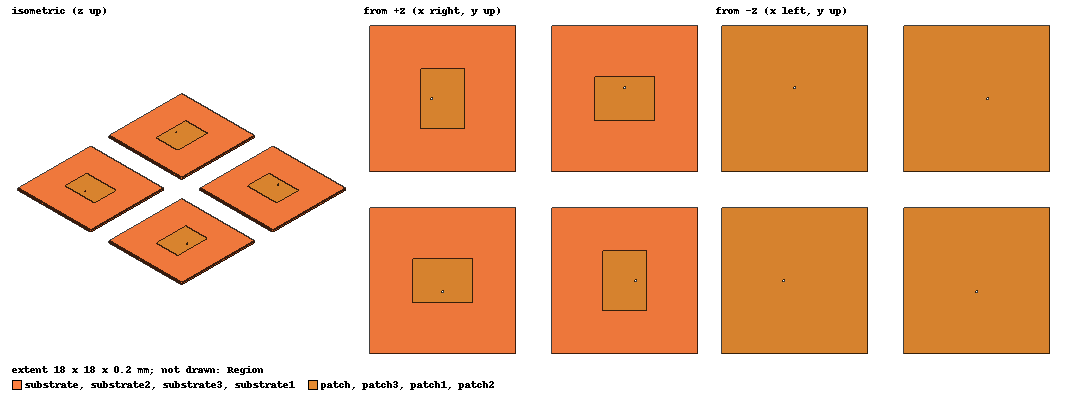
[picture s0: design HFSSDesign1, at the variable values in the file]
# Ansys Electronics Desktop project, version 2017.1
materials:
  vacuum: permittivity=1
  FR4_epoxy: permittivity=4.4 dielectric_loss_tangent=0.02

design HFSSDesign1 (HFSS, DrivenModal, model units mm)
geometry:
  substrate [FR4_epoxy] = box(corner=(-4mm, -4mm, 0mm), size=(8mm, 8mm, 0.2mm))
  patch = rectangle(corner=((-3.260253318/2) mm, (-2.396567504/2) mm, 0.2mm), x_size=3.260253318mm, y_size=2.396567504mm)
  ground = rectangle(corner=(4mm, -4mm, 0mm), x_size=-8mm, y_size=8mm)
  Box1 = box(corner=(-0.05mm, (2.396567504/4-0.05) mm, -0.1mm), size=(0.1mm, 0.1mm, 0.4mm))
  patch.unite(ground)
  Box2 = box(corner=(-0.05mm, (2.396567504/4-0.05) mm, -0.1mm), size=(0.1mm, 0.1mm, 0.4mm))
  substrate.subtract(Box1)
  patch.subtract(Box2)
  feed = rectangle(corner=(0.05mm, 0.549141876mm, 0.2mm), z_size=-0.2mm, x_size=-0.1mm)
  Region [vacuum] = region(absolute_offset=(75/28) mm on all sides)
  [substrate, patch, feed].move(5mm, 5mm, 0mm)
  substrate1 [FR4_epoxy] = box(corner=(-4mm, -4mm, 0mm), size=(8mm, 8mm, 0.2mm))
  Box3 = box(corner=(-0.05mm, (2.396567504/4-0.05) mm, -0.1mm), size=(0.1mm, 0.1mm, 0.4mm))
  substrate1.subtract(Box3)
  substrate1.move(5mm, 5mm, 0mm)
  patch1 = rectangle(corner=((-3.260253318/2) mm, (-2.396567504/2) mm, 0.2mm), x_size=3.260253318mm, y_size=2.396567504mm)
  ground1 = rectangle(corner=(4mm, -4mm, 0mm), x_size=-8mm, y_size=8mm)
  patch1.unite(ground1)
  Box4 = box(corner=(-0.05mm, (2.396567504/4-0.05) mm, -0.1mm), size=(0.1mm, 0.1mm, 0.4mm))
  patch1.subtract(Box4)
  patch1.move(5mm, 5mm, 0mm)
  feed1 = rectangle(corner=(0.05mm, 0.549141876mm, 0.2mm), z_size=-0.2mm, x_size=-0.1mm)
  feed1.move(5mm, 5mm, 0mm)
  [substrate, patch, feed].rotate(axis=Z, angle=90deg)
  substrate2 [FR4_epoxy] = box(corner=(-4mm, -4mm, 0mm), size=(8mm, 8mm, 0.2mm))
  Box5 = box(corner=(-0.05mm, (2.396567504/4-0.05) mm, -0.1mm), size=(0.1mm, 0.1mm, 0.4mm))
  substrate2.subtract(Box5)
  substrate2.move(5mm, 5mm, 0mm)
  substrate2.rotate(axis=Z, angle=90deg)
  patch2 = rectangle(corner=((-3.260253318/2) mm, (-2.396567504/2) mm, 0.2mm), x_size=3.260253318mm, y_size=2.396567504mm)
  ground2 = rectangle(corner=(4mm, -4mm, 0mm), x_size=-8mm, y_size=8mm)
  patch2.unite(ground2)
  Box6 = box(corner=(-0.05mm, (2.396567504/4-0.05) mm, -0.1mm), size=(0.1mm, 0.1mm, 0.4mm))
  patch2.subtract(Box6)
  patch2.move(5mm, 5mm, 0mm)
  patch2.rotate(axis=Z, angle=90deg)
  feed2 = rectangle(corner=(0.05mm, 0.549141876mm, 0.2mm), z_size=-0.2mm, x_size=-0.1mm)
  feed2.move(5mm, 5mm, 0mm)
  [feed2, substrate, patch, feed].rotate(axis=Z, angle=90deg)
  substrate3 [FR4_epoxy] = box(corner=(-4mm, -4mm, 0mm), size=(8mm, 8mm, 0.2mm))
  Box7 = box(corner=(-0.05mm, (2.396567504/4-0.05) mm, -0.1mm), size=(0.1mm, 0.1mm, 0.4mm))
  substrate3.subtract(Box7)
  substrate3.move(5mm, 5mm, 0mm)
  substrate3.rotate(axis=Z, angle=90deg)
  substrate3.rotate(axis=Z, angle=90deg)
  patch3 = rectangle(corner=((-3.260253318/2) mm, (-2.396567504/2) mm, 0.2mm), x_size=3.260253318mm, y_size=2.396567504mm)
  ground3 = rectangle(corner=(4mm, -4mm, 0mm), x_size=-8mm, y_size=8mm)
  patch3.unite(ground3)
  Box8 = box(corner=(-0.05mm, (2.396567504/4-0.05) mm, -0.1mm), size=(0.1mm, 0.1mm, 0.4mm))
  patch3.subtract(Box8)
  patch3.move(5mm, 5mm, 0mm)
  patch3.rotate(axis=Z, angle=90deg)
  patch3.rotate(axis=Z, angle=90deg)
  feed3 = rectangle(corner=(0.05mm, 0.549141876mm, 0.2mm), z_size=-0.2mm, x_size=-0.1mm)
  feed3.move(5mm, 5mm, 0mm)
  feed3.rotate(axis=Z, angle=90deg)
  [feed3, substrate, patch, feed].rotate(axis=Z, angle=90deg)
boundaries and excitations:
  PerfE2: Perfect E Objects=patch
  PerfE3: Perfect E Objects=feed
  Rad1: Radiation Objects=Region
  PerfE4: Perfect E Objects=feed1
  PerfE5: Perfect E Objects=feed2
  PerfE6: Perfect E Objects=feed3
  PerfE7: Perfect E Objects=patch1
  PerfE8: Perfect E Objects=patch2
  PerfE9: Perfect E Objects=patch3
  1: Lumped Port Objects=feed1 Modes{Mode1{IntLine{middle of feed1.edge(z opposite corner) -> middle of feed1.edge(z at corner)} CharImp=Zpi RenormImp=50ohm}} Impedance=50ohm
  2: Lumped Port Objects=feed2 Modes{Mode1{IntLine{middle of feed2.edge(2 of 4) -> middle of feed2.edge(4 of 4)} CharImp=Zpi RenormImp=50ohm}} Impedance=50ohm
  3: Lumped Port Objects=feed3 Modes{Mode1{IntLine{feed3.edge(2 of 4) at 0.6 along -> feed3.edge(4 of 4) at 0.3 along} CharImp=Zpi RenormImp=50ohm}} Impedance=50ohm
  4: Lumped Port Objects=feed Modes{Mode1{IntLine{middle of feed.edge(2 of 4) -> middle of feed.edge(4 of 4)} CharImp=Zpi RenormImp=50ohm}} Impedance=50ohm
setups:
  new: HfssDriven Frequency=28GHz MaxDeltaS=0.02 MaximumPasses=20 MinimumPasses=1 MinimumConvergedPasses=1 PercentRefinement=30 BasisOrder=1 PortAccuracy=2 RayDensityPerWavelength=4 MaxNumberOfBounces=5
    sweep Sweep: 26GHz to 30GHz, 200 points; Type=Fast SaveFields
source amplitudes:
  1:1: 1W 0deg
  2:1: 1W 90deg
  3:1: 1W 180deg
  4:1: 1W 270deg
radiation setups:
  Infinite Sphere1: Infinite Sphere Theta=-180deg..180deg step 1deg Phi=0deg..360deg step 1deg
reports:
  S Parameter Plot 1: dB(S(1,1)) vs Freq on new : Sweep
  System Gain Plot 1: dB(SystemGainTotal) vs Phi, Theta on new : LastAdaptive, Infinite Sphere1 [Freq=28GHz]
  System Gain Plot 2: dB(SystemGainELCHP), dB(SystemGainERHCP) vs Theta on new : LastAdaptive, Infinite Sphere1 [Phi=0deg,90deg Freq=28GHz]
  Axial Ratio Plot 1: dB(AxialRatioValue) vs Theta on new : LastAdaptive, Infinite Sphere1 [Phi=0deg,90deg Freq=28GHz]; markers MY1 at y=2.96355
